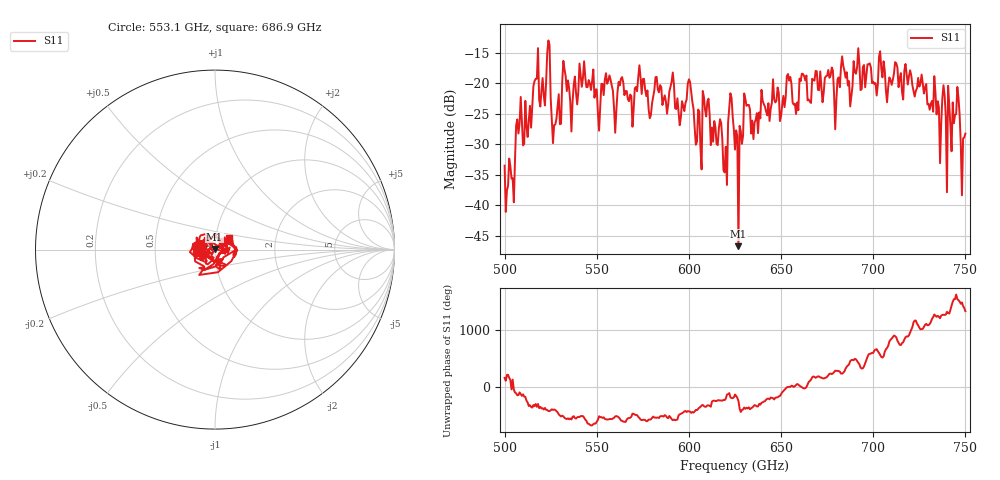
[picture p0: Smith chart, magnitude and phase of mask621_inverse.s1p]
!Created with skrf (http://scikit-rf.org).
# GHz S MA R 50.0
!freq magS11 angS11
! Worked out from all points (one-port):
!   401 points, 500 GHz to 750 GHz, reference 50 ohm
!   lowest |S11| = -46.7 dB at 626.9 GHz (marker M1), VSWR 1.01, Z = 49.8 + j0.389 ohm
!   |S11| at or under -10 dB: start of sweep to end of sweep
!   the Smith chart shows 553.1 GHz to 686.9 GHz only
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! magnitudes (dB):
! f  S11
! 500 GHz  -33.5
! 504.4 GHz  -35.6
! 507.5 GHz  -28.2
! 513.1 GHz  -26.1
! 516.9 GHz  -19.3
! 520.6 GHz  -19.1
! 523.8 GHz  -13.0
! 526.9 GHz  -26.9
! 531.2 GHz  -19.8
! 562.5 GHz  -20.3
! 579.4 GHz  -25.2
! 590.6 GHz  -19.7
! 593.8 GHz  -22.5
! 600.6 GHz  -19.8
! 605.6 GHz  -24.6
! 608.8 GHz  -24.3
! 619.4 GHz  -34.6
! 622.5 GHz  -21.6
! 625 GHz  -30.9
! 626.9 GHz  -46.7
! 631.2 GHz  -23.7
! 635 GHz  -29.1
! 656.2 GHz  -23.1
! 683.8 GHz  -17.1
! 687.5 GHz  -23.8
! 690.6 GHz  -18.4
! 718.8 GHz  -20.2
! 750 GHz  -28.2
